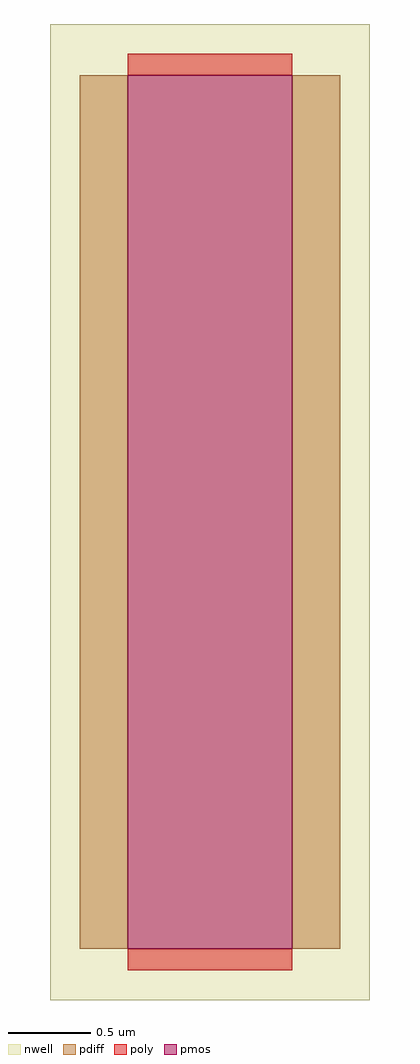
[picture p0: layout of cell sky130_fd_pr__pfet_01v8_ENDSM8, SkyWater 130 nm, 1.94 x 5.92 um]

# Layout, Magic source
magic
tech sky130A
<< nwell >>
rect -97 -296 97 296
<< pmos >>
rect -50 -265 50 265
<< pdiff >>
rect -79 -265 -50 265
rect 50 -265 79 265
<< poly >>
rect -50 265 50 278
rect -50 -278 50 -265
<< properties >>
string gencell sky130_fd_pr__pfet_01v8
string library sky130
string parameters w 5.3 l 1 m 1 nf 1 diffcov 100 polycov 100 guard 0 glc 0 grc 0 gtc 0 gbc 0 tbcov 100 rlcov 100 topc 0 botc 0 poverlap 0 doverlap 1 lmin 0.15 wmin 0.42 class mosfet compatible {sky130_fd_pr__pfet_01v8  sky130_fd_pr__pfet_01v8_lvt sky130_fd_pr__pfet_01v8_hvt  sky130_fd_pr__pfet_g5v0d10v5} full_metal 0 conn_gates 0 viasrc 100 viadrn 100 viagate 100 viagb 0 viagr 0 viagl 0 viagt 0 doports 1
<< end >>
